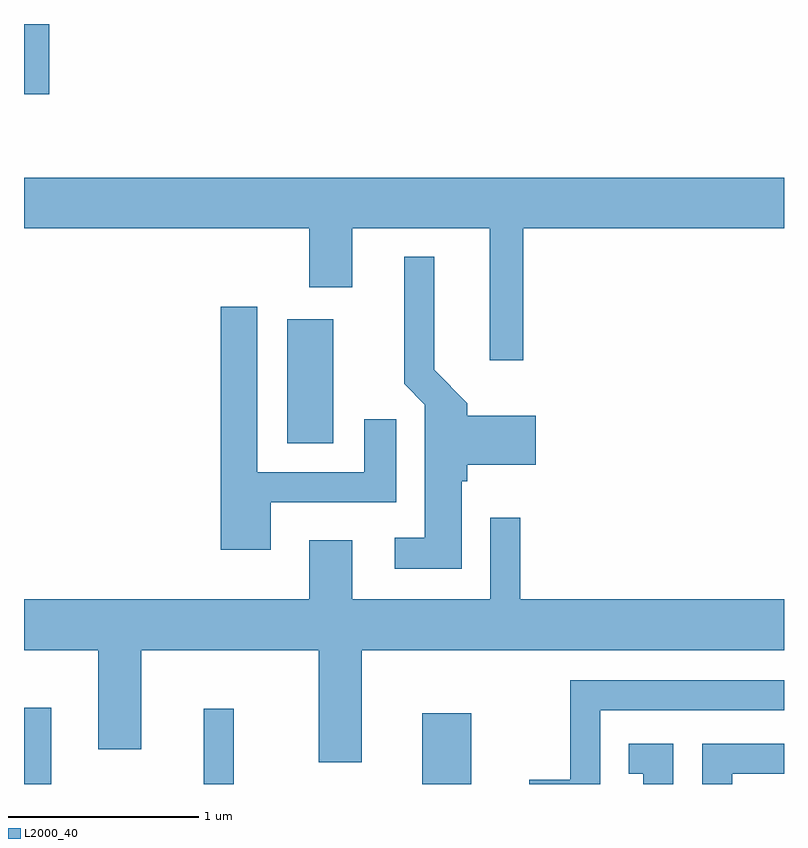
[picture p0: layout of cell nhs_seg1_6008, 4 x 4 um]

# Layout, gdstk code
import gdstk
lib = gdstk.Library(unit=1e-6, precision=1e-09)
def R(c, l, rs):  # rectangles x0, y0, x1, y1
    for r in rs: c.add(gdstk.rectangle(r[:2], r[2:], *l))
def P(c, l, *ps):  # polygons
    for p in ps: c.add(gdstk.Polygon(p, *l))
L2000_40 = (2000, 40)

nhs_seg1_6008 = lib.new_cell('nhs_seg1_6008')
R(nhs_seg1_6008, L2000_40, [(365.611,947.712,365.754,948.114), (366.556,947.712,366.714,948.108), (367.706,947.712,367.964,948.084), (366.996,949.506,367.239,950.159), (365.611,951.341,365.744,951.712)])
P(nhs_seg1_6008, L2000_40, [(368.239,950.636),(369.611,950.636),(369.611,950.904),(365.611,950.904),(365.611,950.636),(367.111,950.636),(367.111,950.326),(367.339,950.326),(367.339,950.636),(368.061,950.636),(368.061,949.941),(368.239,949.941)],
  [(367.914,949.306),(367.944,949.306),(367.944,949.391),(368.304,949.391),(368.304,949.649),(367.944,949.649),(367.944,949.717),(367.769,949.892),(367.769,950.488),(367.611,950.488),(367.611,949.819),(367.721,949.709),(367.721,949.009),(367.563,949.009),(367.563,948.846),(367.914,948.846)],
  [(366.909,949.196),(367.569,949.196),(367.569,949.633),(367.401,949.633),(367.401,949.354),(366.839,949.354),(366.839,950.224),(366.646,950.224),(366.646,948.946),(366.909,948.946)],
  [(367.389,948.416),(369.611,948.416),(369.611,948.684),(368.224,948.684),(368.224,949.113),(368.066,949.113),(368.066,948.684),(367.339,948.684),(367.339,948.994),(367.111,948.994),(367.111,948.684),(365.611,948.684),(365.611,948.416),(366.001,948.416),(366.001,947.896),(366.229,947.896),(366.229,948.416),(367.161,948.416),(367.161,947.826),(367.389,947.826)],
  [(368.644,948.101),(369.611,948.101),(369.611,948.259),(368.486,948.259),(368.486,947.734),(368.271,947.734),(368.271,947.712),(368.644,947.712)],
  [(369.339,947.766),(369.611,947.766),(369.611,947.924),(369.181,947.924),(369.181,947.712),(369.339,947.712)],
  [(369.029,947.924),(368.793,947.924),(368.793,947.766),(368.871,947.766),(368.871,947.712),(369.029,947.712)])

lib.write_gds('nhs_seg1_6008.gds')
